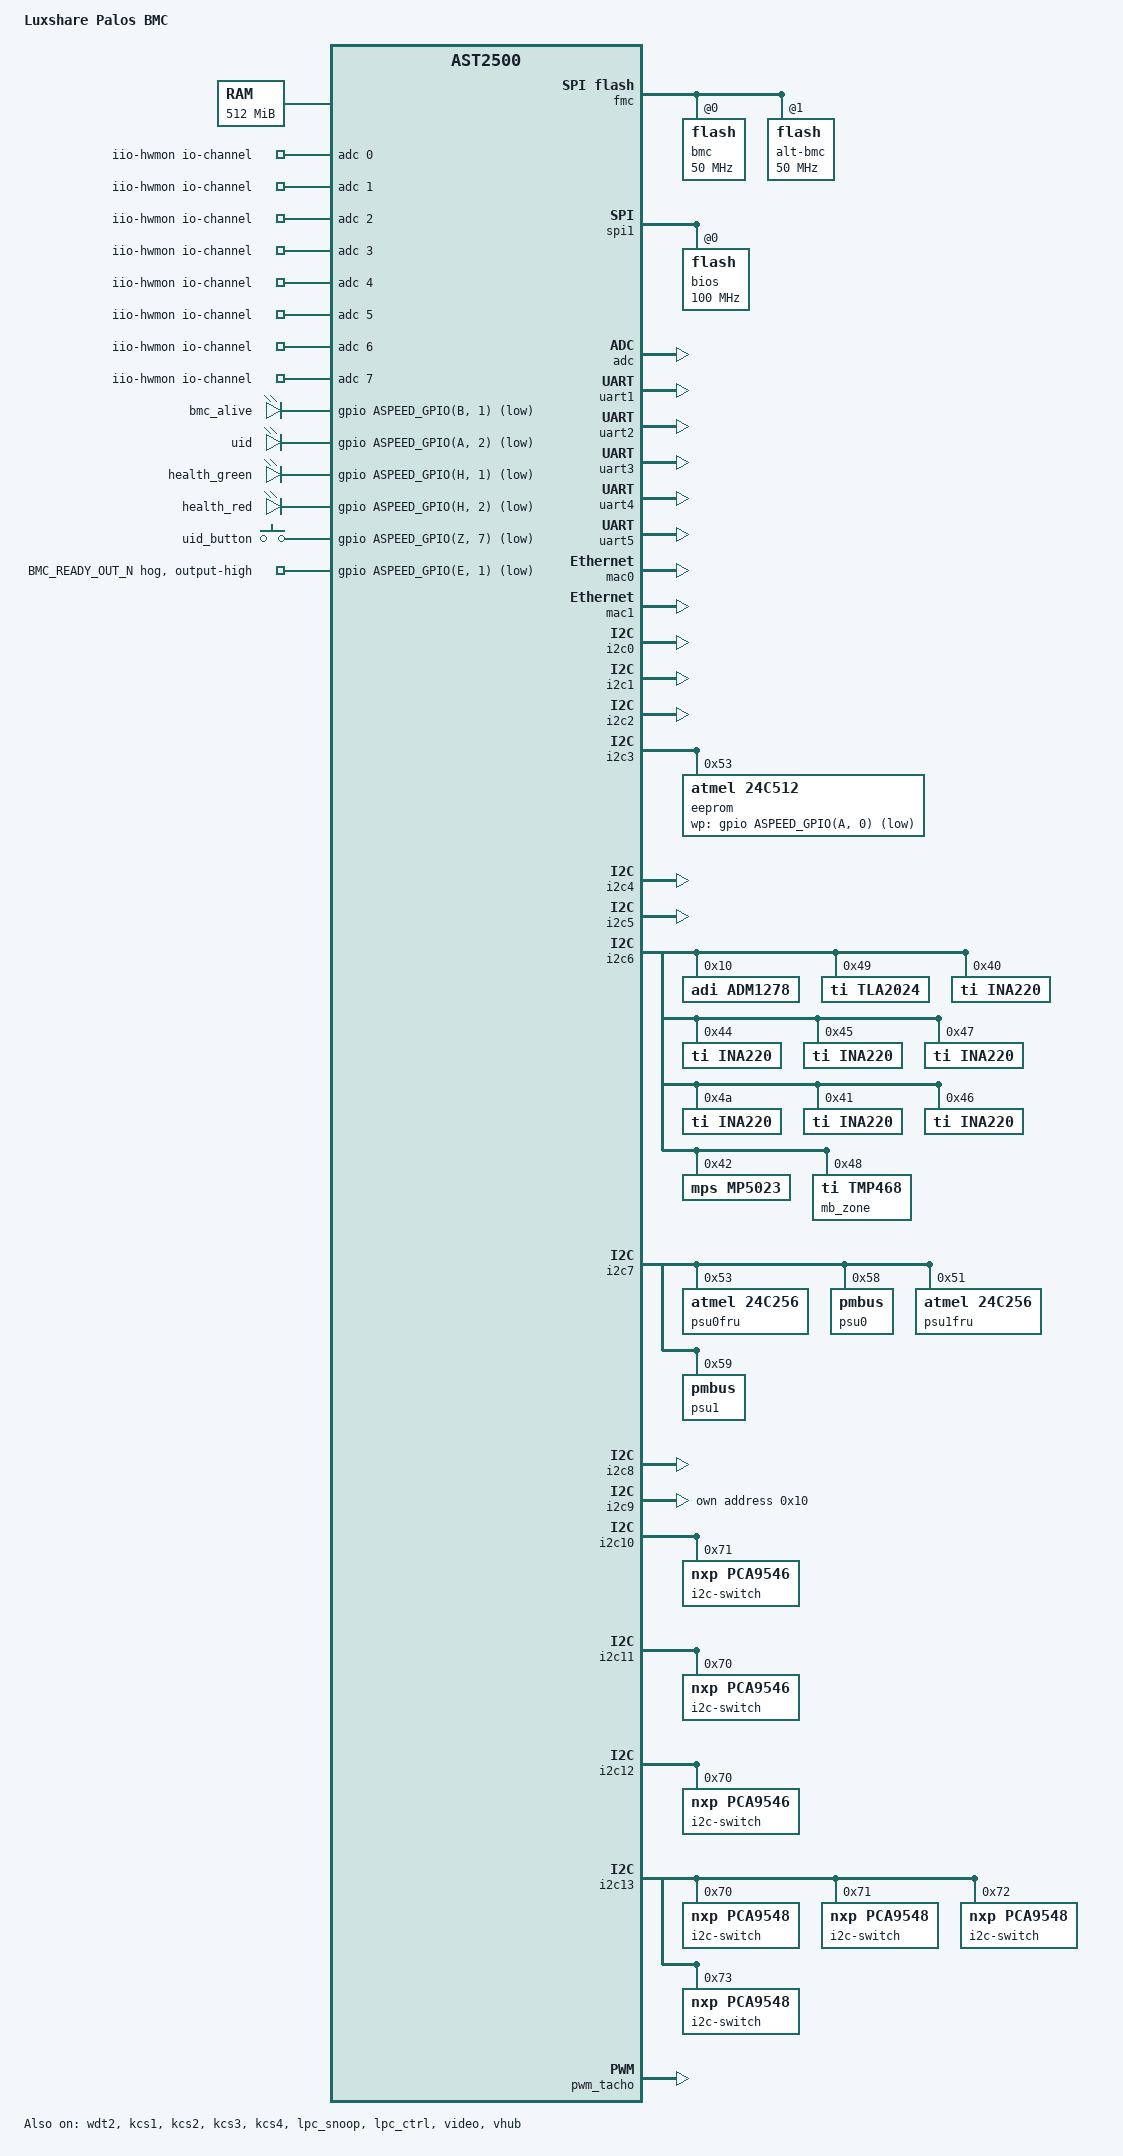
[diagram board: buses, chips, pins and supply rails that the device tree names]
// SPDX-License-Identifier: GPL-2.0+
// Copyright (C) 2022 Luxshare.
/dts-v1/;

#include "aspeed-g5.dtsi"
#include <dt-bindings/gpio/aspeed-gpio.h>
#include <dt-bindings/i2c/i2c.h>
#include <dt-bindings/leds/leds-pca955x.h>

/ {
	model = "Luxshare Palos BMC";
	compatible = "luxshare,palos-bmc", "aspeed,ast2500";

	aliases {
		serial4 = &uart5;
		i2c14 = &channel_11_0;
		i2c15 = &channel_11_1;
		i2c16 = &channel_11_2;
		i2c17 = &channel_11_3;
		i2c18 = &channel_12_0;
		i2c19 = &channel_12_1;
		i2c20 = &channel_12_2;
		i2c21 = &channel_12_3;
		i2c22 = &channel_13_0;
		i2c23 = &channel_13_1;
		i2c24 = &channel_13_2;
		i2c25 = &channel_13_3;
		i2c26 = &channel_13_4;
		i2c27 = &channel_13_5;
		i2c28 = &channel_13_6;
		i2c29 = &channel_13_7;
		i2c30 = &channel_13_8;
		i2c31 = &channel_13_9;
		i2c32 = &channel_13_10;
		i2c33 = &channel_13_11;
		i2c34 = &channel_13_12;
		i2c35 = &channel_13_13;
		i2c36 = &channel_13_14;
		i2c37 = &channel_13_15;
		i2c38 = &channel_13_16;
		i2c39 = &channel_13_17;
		i2c40 = &channel_13_18;
		i2c41 = &channel_13_19;
		i2c42 = &channel_13_20;
		i2c43 = &channel_13_21;
		i2c44 = &channel_13_22;
		i2c45 = &channel_13_23;
		i2c46 = &channel_13_24;
		i2c47 = &channel_13_25;
		i2c48 = &channel_13_26;
		i2c49 = &channel_13_27;
		i2c50 = &channel_13_28;
		i2c51 = &channel_13_29;
		i2c52 = &channel_13_30;
		i2c53 = &channel_13_31;
	};

	chosen {
		stdout-path = &uart5;
		bootargs = "console=ttyS4,115200 earlycon";
	};

	memory@80000000 {
		reg = <0x80000000 0x20000000>;
	};

	reserved-memory {
		#address-cells = <1>;
		#size-cells = <1>;
		ranges;

		vga_memory: framebuffer@9f000000 {
			no-map;
			reg = <0x9f000000 0x01000000>; /* 16M */
		};

		gfx_memory: framebuffer {
			size = <0x01000000>;
			alignment = <0x01000000>;
			compatible = "shared-dma-pool";
			reusable;
		};

		video_engine_memory: jpegbuffer {
			size = <0x02000000>;	/* 32M */
			alignment = <0x01000000>;
			compatible = "shared-dma-pool";
			reusable;
		};
	};

	iio-hwmon {
		compatible = "iio-hwmon";
		io-channels = <&adc 0>, <&adc 1>, <&adc 2>, <&adc 3>,
			<&adc 4>, <&adc 5>, <&adc 6>, <&adc 7>,
			<&adc 8>, <&adc 9>, <&adc 10>, <&adc 11>,
			<&adc 12>, <&adc 13>, <&adc 14>, <&adc 15>;
	};

	leds {
		compatible = "gpio-leds";
		bmc_alive {
			label = "bmc_alive";
			gpios = <&gpio ASPEED_GPIO(B, 1) GPIO_ACTIVE_LOW>;
			linux,default-trigger = "timer";
			led-pattern = <500 500>;
		};

/* 		power {
			label = "power";
			gpios = <&gpio ASPEED_GPIO(R, 1) GPIO_ACTIVE_LOW>;
		}; */

		uid {
			label = "uid";
			gpios = <&gpio ASPEED_GPIO(A, 2) GPIO_ACTIVE_LOW>;
		};

		health_green {
			label = "health_green";
			gpios = <&gpio ASPEED_GPIO(H, 1) GPIO_ACTIVE_LOW>;
		};

		health_red {
			label = "health_red";
			gpios = <&gpio ASPEED_GPIO(H, 2) GPIO_ACTIVE_LOW>;
		};
	};

	gpio-keys {
		compatible = "gpio-keys";
/* 		burn-in-signal {
			label = "burn-in";
			gpios = <&gpio ASPEED_GPIO(R, 5) GPIO_ACTIVE_LOW>;
			linux,code = <ASPEED_GPIO(R, 5)>;
		}; */

		uid_button {
			label = "uid_button";
			gpios = <&gpio ASPEED_GPIO(Z, 7) GPIO_ACTIVE_LOW>;
			linux,code = <ASPEED_GPIO(Q, 7)>;
		};
	};
};

&fmc {
	status = "okay";
	flash@0 {
		status = "okay";
		label = "bmc";
		m25p,fast-read;
		spi-max-frequency = <50000000>;
#include "openbmc-flash-layout-64.dtsi"
	};
	flash@1 {
		status = "okay";
		label = "alt-bmc";
		m25p,fast-read;
		spi-max-frequency = <50000000>;
#include "openbmc-flash-layout-64-alt.dtsi"
	};
};

&spi1 {
	status = "okay";
	pinctrl-names = "default";
	pinctrl-0 = <&pinctrl_spi1_default>;
	flash@0 {
		status = "okay";
		m25p,fast-read;
		label = "bios";
		spi-max-frequency = <100000000>;
	};
};

&adc {
	status = "okay";

	pinctrl-names = "default";
    pinctrl-0 = <&pinctrl_adc0_default &pinctrl_adc1_default
        &pinctrl_adc2_default &pinctrl_adc3_default
        &pinctrl_adc4_default &pinctrl_adc5_default
        &pinctrl_adc6_default &pinctrl_adc7_default
        &pinctrl_adc8_default &pinctrl_adc9_default
        &pinctrl_adc10_default &pinctrl_adc11_default
        &pinctrl_adc12_default &pinctrl_adc13_default
        &pinctrl_adc14_default &pinctrl_adc15_default>;
};

&wdt2 {
	status = "okay";
	aspeed,alt-boot;
};

&gpio {
	status = "okay";
	gpio-line-names =
	/*A0-A7*/	"BMC_FRU_WP","THERMAL_ALERT_N","LED_BMC_UID_LED_N","RST_CPU0_HP_SW_N",
			"","","","",
	/*B0-B7*/	"RST_BMC_HDDBP_RST_N","LED_BMC_HBLED_N_R0","BMC_CPU0_THERMTRIP_N","BMC_CPU1_THERMTRIP_N",
			"BMC_INTRUSION_OUTPUT","CPU0_LPC_PD_N","CPU0_LPC_PME_N","PS_HP_ALERT_BMC_N",
	/*C0-C7*/	"","","","","","","","",
	/*D0-D7*/	"","","","","","","","",
	/*E0-E7*/	"PE4_BMC_I2C_CPU1_RST_N","BMC_READY_OUT_N","MFG_MODE_IN","NMI_SW_N","RST_RTL8211_REST_TTL_N",
			"BMC_NMI_OUT_N","","",
	/*F0-F7*/	"BMC_ASSERT_CPU1_PROCHOT","VGA_PORT_SEL","BMC_SYS_MON_CPU0_PROCHOT","BMC_SYS_MON_CPU1_PROCHOT",
			"CPU0_PRSNT_N","CPU1_PRSNT_N","","",
	/*G0-G7*/	"PCA_REV_ID0","PCA_REV_ID1","CONN1_PRE_N",
			"BMC_LIQ_SENSOR1_OUTPUT","CPU_ALERT_N","BMC_CPLD_HITLESS_N","BMC_LIQ_SENSOR2_OUTPUT",
			"M2_1_PEDET",
	/*H0-H7*/	"M2_0_PEDET","LED_HLTH_GRN_BMC","LED_HLTH_RED_BMC",
			"RST_CPLD_BMC_SYS_N","BIOS_MEMTEMP_READY_OUT","BMC_ASSERT_CLR_CMOS",
			"PHY_INT_N","RSVD_BMC_CPU0_GPIO_H7",
	/*I0-I7*/	"BTN_UID_CPLD_OUT_N","CPU0_SLP_S3_N","CONN0_PRE_N",
			"BMC_DUMP_LOG_N","","","","",
	/*J0-J7*/	"SGPIO_BMC_R_CLK","SGPIO_BMC_R_DOUT","SGPIO_BMC_R_DIN",
			"VGA_HSYNC_BMC_R","SGPIO_BMC_R_LD","VGA_VSYNC_BMC_R","BMC_VGA_DDC_CLK_R","BMC_VGA_DDC_DAT_R",
	/*K0-K7*/	"","","","","","","","",
	/*L0-L7*/	"","","","","","","","",
	/*M0-M7*/	"BMC_ASSERT_CPU0_PROCHOT","BMC_LIQ_SENSOR_MODE_SEL","PE4_BMC_I2C_CPU0_RST_R_N",
			"BTN_PWRON_SSIFP2CPLD_R_N","PWR_BTN_BMC_OUT_N","BMC_ASSERT_LOCAL_LOCK","","",
	/*N0-N7*/	"","","","","","","","",
	/*O0-O7*/	"","","","","","","","",
	/*P0-P7*/	"","","","","","","","",
	/*Q0-Q7*/	"","","","","","","EN_I2C_DIMM_MUX","PME_SB_PE_WAKE_N",
	/*R0-R7*/	"","BMC_HDT_SEL","P3V_BAT_SOURCE","CPU0_UART0_BMC_EN",
			"RST_BMC_G11_SW_N","RVD_GPIO_HDDBP_BMC","","",
	/*S0-S7*/	"RVD_BMC_CPLD_GPIO1","CPU0_SLP_S5_N","PGD_SYS_PWROK",
			"PS_ALERT_BMC_N","REMOTE_DIAG_0","REMOTE_DIAG_1","BMC_HWSTRAP5_NIC_RMII_SEL","",
	/*T0-T7*/	"","","","","","","","",
	/*U0-U7*/	"","","","","","","","",
	/*V0-V7*/	"","","","","","","","",
	/*W0-W7*/	"","RST_PCIE_BMC_GPIO_N","","","","","","",
	/*X0-X7*/	"","","","","","","","",
	/*Y0-Y7*/	"CPU0_BUCS_LOCK","RST_BMC_I2C_SPD_MUX_N","RST_BTN_BMC_OUT_N","BTN_SYSRST_RC_N",
			"","","","",
	/*Z0-Z7*/	"BOARD_ID0","BOARD_ID1","BOARD_ID2",
			"BMC_CPLD_JTAG_OE_N","","","","",
	/*AA0-AA7*/	"VR_SMB_ALERT_N","CPU_MISMATCH_BIT_0","CPU_MISMATCH_BIT_1","CPU_MISMATCH_BIT_2",
			"CPU0_BMC_SMI_N","CPU0_BMC_IERR_N","CPU0_BMC_TIMESYNC","FM_BMC_READ_SPD_TEMP",
	/*AB0-AB7*/	"BMC_HDT_RESET_N","BMC_HDT_PWROK","BMC_ARM_WDOG","RVD_BMC_CPLD_GPIO2","","","","",
	/*AC0-AC7*/	"","","","","","","","RST_BMC_LPC_R_N";
	ready_out {
		gpio-hog;
		gpios = <ASPEED_GPIO(E, 1) GPIO_ACTIVE_LOW>;
		output-high;
		line-name = "BMC_READY_OUT_N";
	};
};

&kcs1 {
	aspeed,lpc-io-reg = <0xCA0>;
	status = "okay";
};

&kcs2 {
	aspeed,lpc-io-reg = <0xCA8>;
	status = "okay";
};

&kcs3 {
	aspeed,lpc-io-reg = <0xCA2>;
	status = "okay";
};

&kcs4 {
	aspeed,lpc-io-reg = <0xCA4>;
	status = "okay";
};

&lpc_snoop {
	snoop-ports = <0x80>;
	status = "okay";
};

&lpc_ctrl {
    status = "okay";
};

&uart1 {
	status = "okay";
	pinctrl-names = "default";
	pinctrl-0 = <&pinctrl_txd1_default
			&pinctrl_rxd1_default
			&pinctrl_nrts1_default
			&pinctrl_ndtr1_default
			&pinctrl_ndsr1_default
			&pinctrl_ncts1_default
			&pinctrl_ndcd1_default
			&pinctrl_nri1_default>;
};

&uart2 {
	status = "okay";
	/*pinctrl-names = "default";
	pinctrl-0 = <&pinctrl_txd2_default
			&pinctrl_rxd2_default
			&pinctrl_nrts2_default
			&pinctrl_ndtr2_default
			&pinctrl_ndsr2_default
			&pinctrl_ncts2_default
			&pinctrl_ndcd2_default
			&pinctrl_nri2_default>;*/
};

&uart3 {
	status = "okay";
};

&uart4 {
	status = "okay";
};

&uart5 {
	status = "okay";
};

&mac0 {
	status = "okay";
	pinctrl-names = "default";
	pinctrl-0 = <&pinctrl_rmii1_default &pinctrl_mdio1_default>;
};

&mac1 {
	status = "okay";
	pinctrl-names = "default";
	pinctrl-0 = <&pinctrl_rgmii2_default>;
		clocks = <&syscon ASPEED_CLK_GATE_MAC2CLK>,
		 <&syscon ASPEED_CLK_MAC2RCLK>;
	clock-names = "MACCLK", "RCLK";
	use-ncsi;
};

&i2c0 {
	status = "okay";
};

&i2c1 {
	status = "okay";
};

&i2c2 {
	status = "okay";
};

&i2c3 {
	status = "okay";

	eeprom: eeprom@53 {
		compatible = "atmel,24c512";
		pagesize = <128>;
		reg = <0x53>;
		wp-gpios = <&gpio ASPEED_GPIO(A, 0) GPIO_ACTIVE_LOW>;
		num-addresses = <16>;
		lable = "fru";
	};
};

&i2c4 {
	status = "okay";
};

&i2c5 {
	status = "okay";
};

&i2c6 {
	status = "okay";

	adm1278@10 {
		compatible = "adi,adm1278";
		reg = <0x10>;
		Rsense = <500>;
	};

	tla2024@49 {
		compatible = "ti,tla2024";
		reg = <0x49>;
		#address-cells = <1>;
		#size-cells = <0>;

		channel0@0 {
			reg = <0>;
			ti,gain = <2>;
			ti,datarate = <4>;
		};

		channel1@1 {
			reg = <1>;
			ti,gain = <2>;
			ti,datarate = <4>;
		};

		channel2@0 {
			reg = <2>;
			ti,gain = <2>;
			ti,datarate = <4>;
		};

		channel3@1 {
			reg = <3>;
			ti,gain = <2>;
			ti,datarate = <4>;
		};
	};

	ina220@40 {
		compatible = "ti,ina220";
		reg = <0x40>;
		shunt-resistor = <1000>;
	};

	ina220@44 {
		compatible = "ti,ina220";
		reg = <0x44>;
		shunt-resistor = <1000>;
	};

/* 	ina220@42 {
		compatible = "ti,ina220";
		reg = <0x4a>;
		shunt-resistor = <1000>;
	}; */

	ina220@45 {
		compatible = "ti,ina220";
		reg = <0x45>;
		shunt-resistor = <1000>;
	};

	ina220@47 {
		compatible = "ti,ina220";
		reg = <0x47>;
		shunt-resistor = <1000>;
	};

	ina220@4a {
		compatible = "ti,ina220";
		reg = <0x4a>;
		shunt-resistor = <1000>;
	};

	ina220@41 {
		compatible = "ti,ina220";
		reg = <0x41>;
		shunt-resistor = <1000>;
	};

	ina220@46 {
		compatible = "ti,ina220";
		reg = <0x46>;
		shunt-resistor = <1000>;
	};

	mp5023@42 {
		compatible = "mps,mp5023";
		reg = <0x42>;
	};

	tmp468@48 {
		compatible = "ti,tmp468";
		reg = <0x48>;
		label = "mb_zone";
	};
};

&i2c7 {
	status = "okay";
	psu0fru: psu0fru@50 {
		compatible = "atmel,24c256";
		reg = <0x53>;
	};

	psu0: power-supply@58 {
		compatible = "pmbus";
		reg = <0x58>;
	};

	psu1fru: psu1fru@51 {
		compatible = "atmel,24c256";
		reg = <0x51>;
	};

	psu1: power-supply@59 {
		compatible = "pmbus";
		reg = <0x59>;
	};
};

&i2c8 {
	status = "okay";
};

&i2c9 {
	status = "okay";
	ipmb0@10 {
		compatible = "ipmb-dev";
		reg = <(0x10 | I2C_OWN_SLAVE_ADDRESS)>;
		i2c-protocol;
	};
};

&i2c10 {
	status = "okay";
	i2c-switch@71 {
		compatible = "nxp,pca9546";
		reg = <0x71>;
		#address-cells = <1>;
		#size-cells = <0>;

		channel_10_0: i2c@0 {
			#address-cells = <1>;
			#size-cells = <0>;
			reg = <0>;
		};

		channel_10_1: i2c@1 {
			#address-cells = <1>;
			#size-cells = <0>;
			reg = <1>;
		};

		channel_10_2: i2c@2 {
			#address-cells = <1>;
			#size-cells = <0>;
			reg = <2>;
		};

		channel_10_3: i2c@3 {
			#address-cells = <1>;
			#size-cells = <0>;
			reg = <3>;
		};
	};
};

&i2c11 {
	status = "okay";
	i2c-switch@70 {
		compatible = "nxp,pca9546";
		reg = <0x70>;
		#address-cells = <1>;
		#size-cells = <0>;
		channel_11_0: i2c@0 {
			#address-cells = <1>;
			#size-cells = <0>;
			reg = <0>;
		};

		channel_11_1: i2c@1 {
			#address-cells = <1>;
			#size-cells = <0>;
			reg = <1>;
		};

		channel_11_2: i2c@2 {
			#address-cells = <1>;
			#size-cells = <0>;
			reg = <2>;
		};

		channel_11_3: i2c@3 {
			#address-cells = <1>;
			#size-cells = <0>;
			reg = <3>;
		};
	};
};

&i2c12 {
	status = "okay";
	i2c-switch@70 {
		compatible = "nxp,pca9546";
		reg = <0x70>;
		#address-cells = <1>;
		#size-cells = <0>;
		channel_12_0: i2c@0 {
			#address-cells = <1>;
			#size-cells = <0>;
			reg = <0>;
		};

		channel_12_1: i2c@1 {
			#address-cells = <1>;
			#size-cells = <0>;
			reg = <1>;
		};

		channel_12_2: i2c@2 {
			#address-cells = <1>;
			#size-cells = <0>;
			reg = <2>;
		};

		channel_12_3: i2c@3 {
			#address-cells = <1>;
			#size-cells = <0>;
			reg = <3>;
		};
	};
};

&i2c13 {
	status = "okay";
	i2c-switch@70 {
		compatible = "nxp,pca9548";
		reg = <0x70>;
		#address-cells = <1>;
		#size-cells = <0>;
		channel_13_0: i2c@0 {
			#address-cells = <1>;
			#size-cells = <0>;
			reg = <0>;
		};

		channel_13_1: i2c@1 {
			#address-cells = <1>;
			#size-cells = <0>;
			reg = <1>;
		};

		channel_13_2: i2c@2 {
			#address-cells = <1>;
			#size-cells = <0>;
			reg = <2>;
		};

		channel_13_3: i2c@3 {
			#address-cells = <1>;
			#size-cells = <0>;
			reg = <3>;
		};
		channel_13_4: i2c@4 {
			#address-cells = <1>;
			#size-cells = <0>;
			reg = <4>;
		};

		channel_13_5: i2c@5 {
			#address-cells = <1>;
			#size-cells = <0>;
			reg = <5>;
		};

		channel_13_6: i2c@6 {
			#address-cells = <1>;
			#size-cells = <0>;
			reg = <6>;
		};

		channel_13_7: i2c@7 {
			#address-cells = <1>;
			#size-cells = <0>;
			reg = <7>;
		};
	};

	i2c-switch@71 {
		compatible = "nxp,pca9548";
		reg = <0x71>;
		#address-cells = <1>;
		#size-cells = <0>;
		channel_13_8: i2c@0 {
			#address-cells = <1>;
			#size-cells = <0>;
			reg = <0>;
		};

		channel_13_9: i2c@1 {
			#address-cells = <1>;
			#size-cells = <0>;
			reg = <1>;
		};

		channel_13_10: i2c@2 {
			#address-cells = <1>;
			#size-cells = <0>;
			reg = <2>;
		};

		channel_13_11: i2c@3 {
			#address-cells = <1>;
			#size-cells = <0>;
			reg = <3>;
		};
		channel_13_12: i2c@4 {
			#address-cells = <1>;
			#size-cells = <0>;
			reg = <4>;
		};

		channel_13_13: i2c@5 {
			#address-cells = <1>;
			#size-cells = <0>;
			reg = <5>;
		};

		channel_13_14: i2c@6 {
			#address-cells = <1>;
			#size-cells = <0>;
			reg = <6>;
		};

		channel_13_15: i2c@7 {
			#address-cells = <1>;
			#size-cells = <0>;
			reg = <7>;
		};
	};

	i2c-switch@72 {
		compatible = "nxp,pca9548";
		reg = <0x72>;
		#address-cells = <1>;
		#size-cells = <0>;
		channel_13_16: i2c@0 {
			#address-cells = <1>;
			#size-cells = <0>;
			reg = <0>;
		};

		channel_13_17: i2c@1 {
			#address-cells = <1>;
			#size-cells = <0>;
			reg = <1>;
		};

		channel_13_18: i2c@2 {
			#address-cells = <1>;
			#size-cells = <0>;
			reg = <2>;
		};

		channel_13_19: i2c@3 {
			#address-cells = <1>;
			#size-cells = <0>;
			reg = <3>;
		};
		channel_13_20: i2c@4 {
			#address-cells = <1>;
			#size-cells = <0>;
			reg = <4>;
		};

		channel_13_21: i2c@5 {
			#address-cells = <1>;
			#size-cells = <0>;
			reg = <5>;
		};

		channel_13_22: i2c@6 {
			#address-cells = <1>;
			#size-cells = <0>;
			reg = <6>;
		};

		channel_13_23: i2c@7 {
			#address-cells = <1>;
			#size-cells = <0>;
			reg = <7>;
		};
	};

	i2c-switch@73 {
		compatible = "nxp,pca9548";
		reg = <0x73>;
		#address-cells = <1>;
		#size-cells = <0>;
		channel_13_24: i2c@0 {
			#address-cells = <1>;
			#size-cells = <0>;
			reg = <0>;
		};

		channel_13_25: i2c@1 {
			#address-cells = <1>;
			#size-cells = <0>;
			reg = <1>;
		};

		channel_13_26: i2c@2 {
			#address-cells = <1>;
			#size-cells = <0>;
			reg = <2>;
		};

		channel_13_27: i2c@3 {
			#address-cells = <1>;
			#size-cells = <0>;
			reg = <3>;
		};
		channel_13_28: i2c@4 {
			#address-cells = <1>;
			#size-cells = <0>;
			reg = <4>;
		};

		channel_13_29: i2c@5 {
			#address-cells = <1>;
			#size-cells = <0>;
			reg = <5>;
		};

		channel_13_30: i2c@6 {
			#address-cells = <1>;
			#size-cells = <0>;
			reg = <6>;
		};

		channel_13_31: i2c@7 {
			#address-cells = <1>;
			#size-cells = <0>;
			reg = <7>;
		};
	};
};

&pwm_tacho {
	status = "okay";
	pinctrl-names = "default";
	pinctrl-0 = <&pinctrl_pwm0_default &pinctrl_pwm1_default
			 &pinctrl_pwm2_default &pinctrl_pwm3_default
			 &pinctrl_pwm4_default &pinctrl_pwm5_default
			 &pinctrl_pwm6_default &pinctrl_pwm7_default>;

	fan@0 {
		reg = <0x00>;
		aspeed,fan-tach-ch = /bits/ 8 <0x00 0x01>;
	};
	fan@1 {
		reg = <0x01>;
		aspeed,fan-tach-ch = /bits/ 8 <0x02 0x03>;
	};
	fan@2 {
		reg = <0x02>;
		aspeed,fan-tach-ch = /bits/ 8 <0x04 0x05>;
	};
	fan@3 {
		reg = <0x03>;
		aspeed,fan-tach-ch = /bits/ 8 <0x06 0x07>;
	};
	fan@4 {
		reg = <0x04>;
		aspeed,fan-tach-ch = /bits/ 8 <0x08 0x09>;
	};
	fan@5 {
		reg = <0x05>;
		aspeed,fan-tach-ch = /bits/ 8 <0x0a 0x0b>;
	};
	fan@6 {
		reg = <0x06>;
		aspeed,fan-tach-ch = /bits/ 8 <0x0c 0x0d>;
	};
	fan@7 {
		reg = <0x07>;
		aspeed,fan-tach-ch = /bits/ 8 <0x0e 0x0f>;
	};
};

/* &gpio {
	pin_gpio_i3 {
		gpio-hog;
		gpios = <ASPEED_GPIO(I, 3) GPIO_ACTIVE_HIGH>;
		output-low;
		line-name = "NCSI_BMC_R_SEL";
	};

	pin_gpio_b6 {
		gpio-hog;
		gpios = <ASPEED_GPIO(B, 6) GPIO_ACTIVE_HIGH>;
		output-low;
		line-name = "EN_NCSI_SWITCH_N";
	};
}; */

&video {
	status = "okay";
	memory-region = <&video_engine_memory>;
};

&vhub {
	status = "okay";
};
